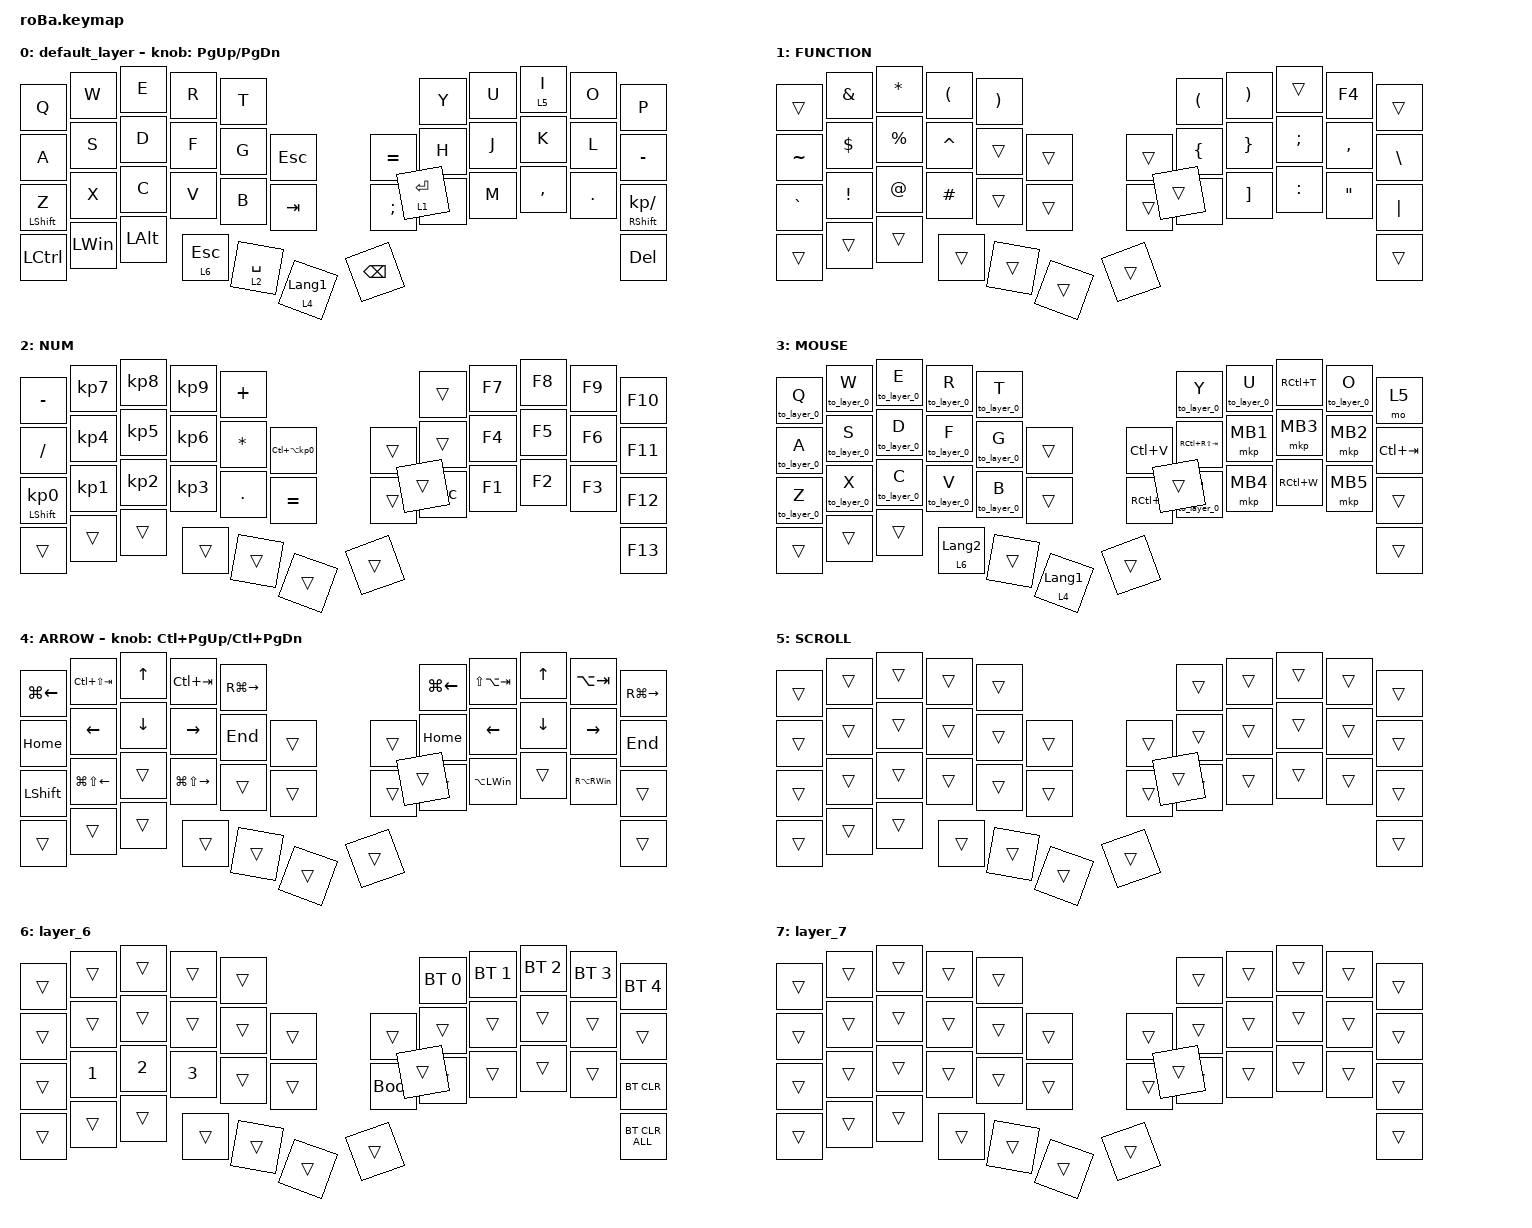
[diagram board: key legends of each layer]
#include <behaviors.dtsi>
#include <dt-bindings/zmk/bt.h>
#include <dt-bindings/zmk/keys.h>
#include <dt-bindings/zmk/pointing.h>

&mt {
    flavor = "balanced";
    quick-tap-ms = <0>;
};

&trackball {
    automouse-layer = <3>;
    scroll-layers = <5>;

    // arrows {
    //     layers = <3>;
    //     bindings =
    //         <&kp RIGHT_ARROW>,
    //         <&kp LEFT_ARROW>,
    //         <&kp UP_ARROW>,
    //         <&kp DOWN_ARROW>;
    //     tick = <10>;
    //     wait-ms = <5>;
    //     tap-ms = <5>;
    // };
};

/ {
    combos {
        compatible = "zmk,combos";

        tab {
            bindings = <&kp TAB>;
            key-positions = <11 12>;
        };

        shift_tab {
            bindings = <&kp LS(TAB)>;
            key-positions = <12 13>;
        };

        muhennkann {
            bindings = <&to_layer_0 LANGUAGE_2>;
            key-positions = <11 10>;
        };

        double_quotation {
            bindings = <&kp DOUBLE_QUOTES>;
            key-positions = <20 21>;
        };

        eq {
            bindings = <&kp EQUAL>;
            key-positions = <24 25>;
        };

        BT0 {
            bindings = <&bt BT_SEL 0>;
            key-positions = <22 28>;
        };

        BT1 {
            bindings = <&bt BT_SEL 1>;
            key-positions = <23 28>;
        };

        BT2 {
            bindings = <&bt BT_SEL 2>;
            key-positions = <24 30>;
        };
    };

    macros {
        to_layer_0: to_layer_0 {
            compatible = "zmk,behavior-macro-one-param";
            #binding-cells = <1>;
            bindings = <&to 0 &macro_param_1to1 &kp MACRO_PLACEHOLDER>;
            label = "TO_LAYER_0";
        };
    };

    behaviors {
        lt_to_layer_0: lt_to_layer_0 {
            compatible = "zmk,behavior-hold-tap";
            label = "LAYER_TAP_TO_0";
            bindings = <&mo>, <&to_layer_0>;

            #binding-cells = <2>;
            tapping-term-ms = <200>;
        };
    };

    keymap {
        compatible = "zmk,keymap";

        default_layer {
            bindings = <
&kp Q             &kp W         &kp E         &kp R         &kp T                                             &kp Y        &kp U  &lt 5 I    &kp O    &kp P
&kp A             &kp S         &kp D         &kp F         &kp G        &kp ESCAPE            &kp EQUAL      &kp H        &kp J  &kp K      &kp L    &kp MINUS
&mt LEFT_SHIFT Z  &kp X         &kp C         &kp V         &kp B        &kp TAB               &kp SEMICOLON  &kp N        &kp M  &kp COMMA  &kp DOT  &mt RIGHT_SHIFT KP_DIVIDE
&kp LCTRL         &kp LEFT_WIN  &kp LEFT_ALT  &lt 6 ESCAPE  &lt 2 SPACE  &lt 4 LANGUAGE_1      &kp BACKSPACE  &lt 1 ENTER                             &kp DELETE
            >;

            sensor-bindings = <&inc_dec_kp PG_UP PAGE_DOWN>;
        };

        FUNCTION {
            bindings = <
&trans     &kp AMPS         &kp ASTERISK  &kp LEFT_PARENTHESIS  &kp RIGHT_PARENTHESIS                      &kp LEFT_PARENTHESIS  &kp RIGHT_PARENTHESIS  &trans     &kp F4             &trans
&kp TILDE  &kp DOLLAR       &kp PERCENT   &kp CARET             &trans                 &trans      &trans  &kp LEFT_BRACE        &kp RIGHT_BRACE        &kp SEMI   &kp COMMA          &kp BSLH
&kp GRAVE  &kp EXCLAMATION  &kp AT_SIGN   &kp HASH              &trans                 &trans      &trans  &kp LEFT_BRACKET      &kp RIGHT_BRACKET      &kp COLON  &kp DOUBLE_QUOTES  &kp PIPE
&trans     &trans           &trans        &trans                &trans                 &trans      &trans  &trans                                                                     &trans
            >;
        };

        NUM {
            bindings = <
&kp MINUS                   &kp KP_NUMBER_7  &kp KP_NUMBER_8  &kp KP_NUMBER_9  &kp PLUS                                           &trans      &kp F7  &kp F8  &kp F9  &kp F10
&kp SLASH                   &kp KP_NUMBER_4  &kp KP_NUMBER_5  &kp KP_NUMBER_6  &kp ASTERISK  &kp LC(LA(KP_NUMBER_0))      &trans  &trans      &kp F4  &kp F5  &kp F6  &kp F11
&mt LEFT_SHIFT KP_NUMBER_0  &kp KP_NUMBER_1  &kp KP_NUMBER_2  &kp KP_NUMBER_3  &kp PERIOD    &kp EQUAL                    &trans  &kp ESCAPE  &kp F1  &kp F2  &kp F3  &kp F12
&trans                      &trans           &trans           &trans           &trans        &trans                       &trans  &trans                              &kp F13
            >;
        };

        MOUSE {
            bindings = <
&to_layer_0 Q  &to_layer_0 W  &to_layer_0 E  &to_layer_0 R                &to_layer_0 T                                              &to_layer_0 Y    &to_layer_0 U  &kp RC(T)  &to_layer_0 O  &mo 5
&to_layer_0 A  &to_layer_0 S  &to_layer_0 D  &to_layer_0 F                &to_layer_0 G  &trans                           &kp LC(V)  &kp RC(RS(TAB))  &mkp MB1       &mkp MB3   &mkp MB2       &kp LC(TAB)
&to_layer_0 Z  &to_layer_0 X  &to_layer_0 C  &to_layer_0 V                &to_layer_0 B  &trans                           &kp RC(C)  &to_layer_0 N    &mkp MB4       &kp RC(W)  &mkp MB5       &trans
&trans         &trans         &trans         &lt_to_layer_0 6 LANGUAGE_2  &trans         &lt_to_layer_0 4 LANGUAGE_1      &trans     &trans                                                    &trans
            >;
        };

        ARROW {
            bindings = <
&kp LG(LEFT)    &kp LC(LS(TAB))         &kp UP_ARROW    &kp LC(TAB)              &kp RG(RIGHT)                      &kp LG(LEFT)  &kp LS(LA(TAB))   &kp UP_ARROW    &kp LA(TAB)        &kp RG(RIGHT)
&kp HOME        &kp LEFT_ARROW          &kp DOWN_ARROW  &kp RIGHT_ARROW          &kp END        &trans      &trans  &kp HOME      &kp LEFT_ARROW    &kp DOWN_ARROW  &kp RIGHT_ARROW    &kp END
&kp LEFT_SHIFT  &kp LG(LS(LEFT_ARROW))  &trans          &kp LG(LS(RIGHT_ARROW))  &trans         &trans      &trans  &trans        &kp LA(LEFT_WIN)  &trans          &kp RA(RIGHT_WIN)  &trans
&trans          &trans                  &trans          &trans                   &trans         &trans      &trans  &trans                                                             &trans
            >;

            sensor-bindings = <&inc_dec_kp LC(PAGE_UP) LC(PAGE_DOWN)>;
        };

        SCROLL {
            bindings = <
&trans  &trans  &trans  &trans  &trans                      &trans  &trans  &trans  &trans  &trans
&trans  &trans  &trans  &trans  &trans  &trans      &trans  &trans  &trans  &trans  &trans  &trans
&trans  &trans  &trans  &trans  &trans  &trans      &trans  &trans  &trans  &trans  &trans  &trans
&trans  &trans  &trans  &trans  &trans  &trans      &trans  &trans                          &trans
            >;
        };

        layer_6 {
            bindings = <
&trans  &trans        &trans        &trans        &trans                           &bt BT_SEL 0  &bt BT_SEL 1  &bt BT_SEL 2  &bt BT_SEL 3  &bt BT_SEL 4
&trans  &trans        &trans        &trans        &trans  &trans      &trans       &trans        &trans        &trans        &trans        &trans
&trans  &kp NUMBER_1  &kp NUMBER_2  &kp NUMBER_3  &trans  &trans      &bootloader  &trans        &trans        &trans        &trans        &bt BT_CLR
&trans  &trans        &trans        &trans        &trans  &trans      &trans       &trans                                                  &bt BT_CLR_ALL
            >;
        };

        layer_7 {
            bindings = <
&trans  &trans  &trans  &trans  &trans                      &trans  &trans  &trans  &trans  &trans
&trans  &trans  &trans  &trans  &trans  &trans      &trans  &trans  &trans  &trans  &trans  &trans
&trans  &trans  &trans  &trans  &trans  &trans      &trans  &trans  &trans  &trans  &trans  &trans
&trans  &trans  &trans  &trans  &trans  &trans      &trans  &trans                          &trans
            >;
        };
    };
};
